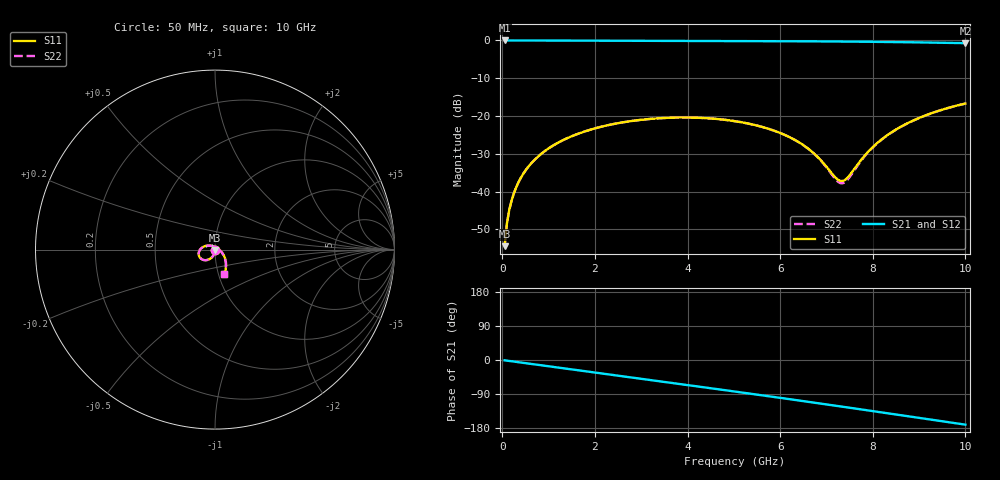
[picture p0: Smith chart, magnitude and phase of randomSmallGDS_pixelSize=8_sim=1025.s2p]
! freq	dB(S11)	phase(S11)	dB(S12)	phase(S12)
!  dB(S21)	phase(S21)	dB(S22)	phase(S22)
!S-par simulation data
#  GHz  S  DB  R 50
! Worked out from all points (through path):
!   200 points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, 50 MHz to 10 GHz, reference 50 ohm
!   highest |S21| = 0.00 dB at 50 MHz (marker M1); lowest = -0.7 dB at 10 GHz (marker M2)
!   group delay of S21, straight-line fit = 47.2 ps
!   lowest |S11| = -54.4 dB at 50 MHz (marker M3), VSWR 1.00, Z = 50 - j0.19 ohm
!   |S11| at or under -10 dB: start of sweep to end of sweep
!   |S22| runs from -54.4 to -16.7 dB; largest |S21 - S12| = 0
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0.05  -54.41 -90.2  -0.00 -0.8  -0.00 -0.8  -54.41 -90.2
0.1  -48.39 -91.5  -0.00 -1.7  -0.00 -1.7  -48.39 -91.5
0.15  -44.87 -92.6  -0.00 -2.5  -0.00 -2.5  -44.87 -92.6
0.2  -42.36 -93.6  -0.00 -3.3  -0.00 -3.3  -42.36 -93.6
0.35  -37.50 -96.3  -0.01 -5.8  -0.01 -5.8  -37.50 -96.3
0.5  -34.41 -99.0  -0.01 -8.3  -0.01 -8.3  -34.41 -98.9
0.7  -31.53 -102.4  -0.02 -11.6  -0.02 -11.6  -31.53 -102.4
1  -28.55 -107.5  -0.02 -16.6  -0.02 -16.6  -28.55 -107.5
1.75  -24.19 -120.2  -0.05 -29.0  -0.05 -29.0  -24.19 -120.2
2.5  -21.88 -132.9  -0.07 -41.3  -0.07 -41.3  -21.88 -132.8
3.4  -20.57 -148.2  -0.10 -56.2  -0.10 -56.2  -20.57 -148.1
4.25  -20.46 -163.2  -0.13 -70.3  -0.13 -70.3  -20.46 -163.0
5.05  -21.40 -178.1  -0.16 -83.7  -0.16 -83.7  -21.40 -177.8
6  -24.47 161.4  -0.19 -99.8  -0.19 -99.8  -24.48 162.0
6.7  -29.56 138.0  -0.23 -111.9  -0.23 -111.9  -29.62 139.3
7.2  -36.34 89.0  -0.27 -120.7  -0.27 -120.7  -36.78 90.9
7.35  -37.18 56.4  -0.29 -123.3  -0.29 -123.3  -37.79 56.5
7.45  -36.37 34.6  -0.30 -125.1  -0.30 -125.1  -36.91 33.4
7.95  -28.80 -17.1  -0.35 -133.9  -0.35 -133.9  -28.93 -18.6
8.35  -24.74 -32.7  -0.41 -141.1  -0.41 -141.1  -24.80 -33.9
9.05  -20.25 -50.8  -0.52 -153.6  -0.52 -153.6  -20.28 -51.5
10  -16.68 -70.1  -0.71 -170.6  -0.71 -170.6  -16.70 -70.7
